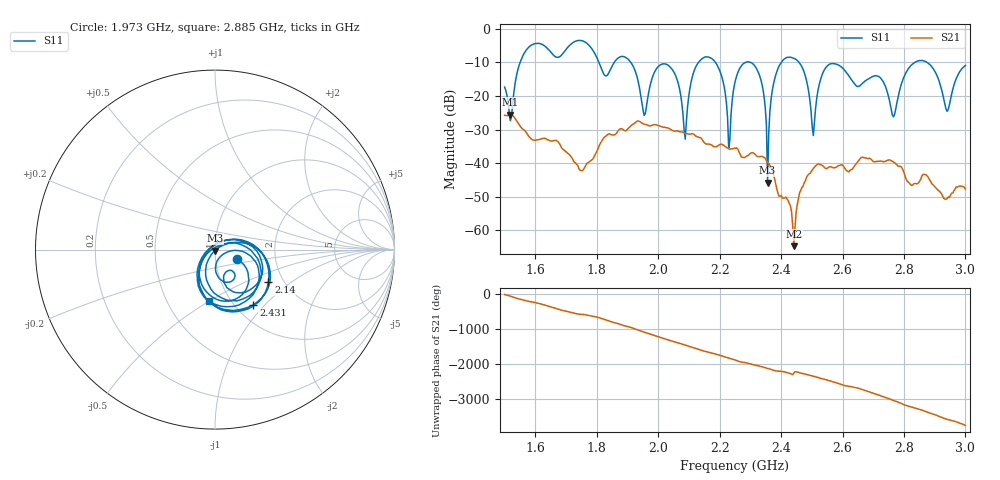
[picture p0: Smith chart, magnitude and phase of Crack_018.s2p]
# HZ S RI R 50
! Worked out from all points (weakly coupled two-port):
!   404 points, 1.5 GHz to 3 GHz, reference 50 ohm
!   highest |S21| = -25.54 dB at 1.519 GHz (marker M1); lowest = -64.7 dB at 2.442 GHz (marker M2)
!   lowest |S11| = -45.8 dB at 2.356 GHz (marker M3), VSWR 1.01, Z = 49.9 - j0.511 ohm
!   |S11| at or under -10 dB: 1.91 GHz to 2.132 GHz (221.5 MHz wide, 11 % of centre); 2.458 GHz to 2.837 GHz (378.7 MHz wide, 14.3 % of centre); 2.874 GHz to end of sweep (the widest 3 of 7)
!   S12 and S22 are empty: the file has one direction only
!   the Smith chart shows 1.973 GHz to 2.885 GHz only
!   S11 on the Smith chart (normalised r, x): 1.973 GHz: 1.28, -0.14; 2.14 GHz: 1.67, -0.69; 2.431 GHz: 1.21, -0.86; 2.885 GHz: 0.80, -0.50
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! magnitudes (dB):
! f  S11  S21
! 1.5 GHz  -17.4  -25.8
! 1.519 GHz  -27.4  -25.5
! 1.578 GHz  -5.6  -32.0
! 1.753 GHz  -3.6  -42.2
! 1.973 GHz  -17.3  -28.9
! 2.002 GHz  -11.1  -28.9
! 2.088 GHz  -32.9  -31.1
! 2.14 GHz  -9.2  -32.6
! 2.2 GHz  -12.4  -34.5
! 2.23 GHz  -35.5  -35.8
! 2.252 GHz  -15.2  -35.6
! 2.319 GHz  -11.7  -37.7
! 2.356 GHz  -45.8  -39.8
! 2.386 GHz  -12.9  -47.5
! 2.431 GHz  -8.5  -52.7
! 2.442 GHz  -8.8  -64.7
! 2.501 GHz  -29.1  -42.0
! 2.561 GHz  -10.5  -41.1
! 2.751 GHz  -20.5  -39.0
! 2.885 GHz  -10.7  -45.1
! 2.94 GHz  -24.6  -50.5
! 3 GHz  -11.0  -47.7
